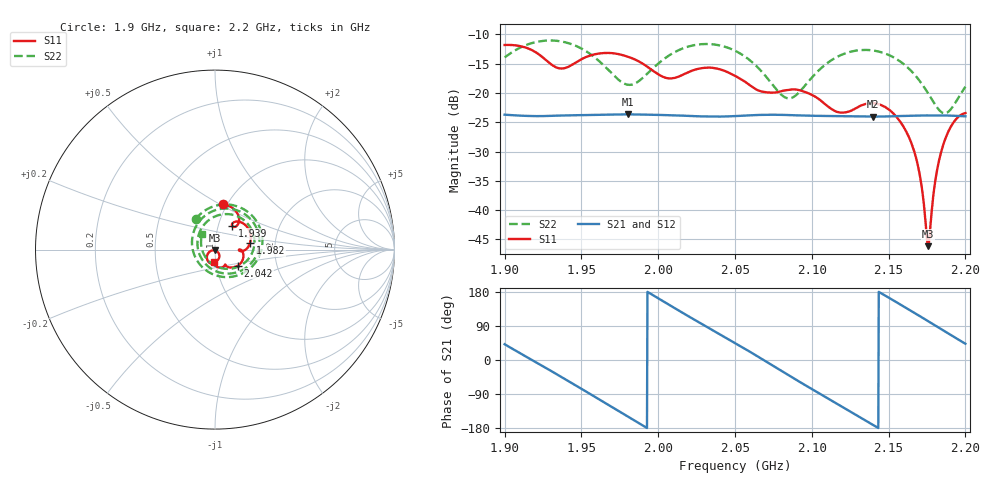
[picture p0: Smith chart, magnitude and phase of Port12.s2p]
# Hz S RI R 50
! CMT, CMT808U, 21440046, 21.4.3/4
! Date: 3/28/2026 5:04:28 PM
! Data: Format (Calibration Info)
! Freq	S11:Re/Im(F2)	S41:Re/Im(F2)	S14:Re/Im(F2)	S44:Re/Im(F2)
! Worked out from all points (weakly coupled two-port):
!   1001 points, 1.9 GHz to 2.2 GHz, reference 50 ohm
!   highest |S21| = -23.66 dB at 1.98 GHz (marker M1); lowest = -24.0 dB at 2.14 GHz (marker M2)
!   lowest |S11| = -46.2 dB at 2.176 GHz (marker M3), VSWR 1.01, Z = 49.9 - j0.475 ohm
!   |S11| at or under -10 dB: start of sweep to end of sweep
!   |S22| runs from -23.5 to -11.0 dB; largest |S21 - S12| = 0.00048
!   S11 on the Smith chart (normalised r, x): 1.9 GHz: 0.95, +0.52; 1.939 GHz: 1.16, +0.32; 1.982 GHz: 1.48, +0.11; 2.042 GHz: 1.27, -0.23; 2.2 GHz: 0.98, -0.13
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1.9e9  0.0429 0.2528  0.0487 0.0433  0.0483 0.0434  -0.1078 0.1697
1.9183e9  0.1301 0.1898  0.0634 -0.00135  0.0634 -0.00102  0.1035 0.2466
1.939e9  0.095 0.132  0.0416 -0.0489  0.0418 -0.0486  0.2636 0.0645
1.9501e9  0.1155 0.1561  0.0154 -0.0628  0.0157 -0.0626  0.2295 -0.0664
1.9801e9  0.1979 0.049  -0.0561 -0.0341  -0.0557 -0.0343  -0.0913 -0.074
1.9825e9  0.1952 0.0372  -0.0592 -0.0281  -0.059 -0.0283  -0.1069 -0.0487
2.0002e9  0.1435 -0.00894  -0.0618 0.0197  -0.0618 0.0193  -0.0894 0.1548
2.0194e9  0.1497 -0.00615  -0.0281 0.0572  -0.0283 0.0569  0.1086 0.2232
2.0422e9  0.1282 -0.0888  0.0284 0.0561  0.0281 0.0562  0.2476 0.0371
2.05e9  0.0984 -0.0994  0.0449 0.0448  0.0446 0.045  0.2251 -0.0432
2.0668e9  0.0587 -0.0849  0.0647 0.00493  0.0646 0.00526  0.0782 -0.1338
2.0833e9  0.051 -0.0923  0.0522 -0.0385  0.0523 -0.0381  -0.0709 -0.0567
2.1001e9  0.0113 -0.0955  0.0145 -0.0622  0.0148 -0.062  -0.08 0.1093
2.1181e9  0.000856 -0.0681  -0.0315 -0.0549  -0.0312 -0.055  0.0635 0.198
2.1397e9  -0.0202 -0.079  -0.062 -0.00975  -0.0619 -0.0101  0.2142 0.0846
2.1502e9  -0.0424 -0.0583  -0.0607 0.0171  -0.0607 0.0168  0.2101 -0.0103
2.1664e9  -0.0303 -0.0118  -0.0369 0.0522  -0.0372 0.0519  0.1021 -0.1041
2.1706e9  -0.0181 -0.00551  -0.0272 0.058  -0.0274 0.0578  0.0634 -0.1074
2.1757e9  -0.00123 -0.00476  -0.014 0.0627  -0.0143 0.0626  0.0171 -0.0978
2.1808e9  0.0144 -0.0128  3.88e-05 0.0643  -0.000352 0.0643  -0.0238 -0.0739
2.1853e9  0.0231 -0.0264  0.0124 0.063  0.0121 0.063  -0.0521 -0.0429
2.2e9  -0.00655 -0.067  0.0463 0.043  0.0459 0.0432  -0.0702 0.0885
